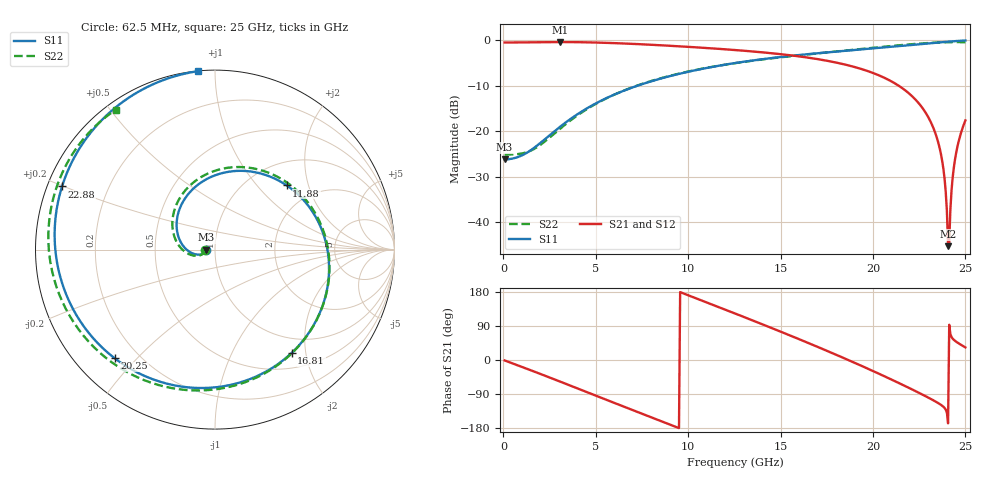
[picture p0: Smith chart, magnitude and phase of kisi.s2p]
! BV_vna_rf_hblb1_q050f25s_e35: /Attenuator Amp Switches/RF_HBLB_PORT1 via F.Cu→In2.Cu at (144.901, 131.654)
! stackup: VNA from the board file and its kisi.json
! ports: 1 in, 2 out
! kisi-fdtd, conformal, dfine 0.05 mm, 707850 cells
# Hz S RI R 50
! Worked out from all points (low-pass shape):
!   400 points, 62.5 MHz to 25 GHz, reference 50 ohm
!   highest |S21| = -0.37 dB at 3.062 GHz (marker M1); lowest = -45.2 dB at 24.06 GHz (marker M2)
!   |S21| within 3 dB of the highest: start of sweep to 15.72 GHz
!   lowest |S11| = -26.2 dB at 62.5 MHz (marker M3), VSWR 1.10, Z = 45.3 - j0.064 ohm
!   |S11| at or under -10 dB: start of sweep to 7.219 GHz
!   |S22| runs from -25.1 to -0.4 dB; largest |S21 - S12| = 3.7e-05
!   S11 on the Smith chart (normalised r, x): 62.5 MHz: 0.91, -0.00; 11.88 GHz: 1.46, +1.46; 16.81 GHz: 0.74, -1.75; 20.25 GHz: 0.11, -0.43; 22.88 GHz: 0.04, +0.20; 25 GHz: 0.00, +0.91
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6.25e7  -0.0492 -0.000704  0.9474 -0.0188  0.9473 -0.0188  -0.0557 -0.00043
3.0625e9  -0.1094 -0.0261  0.5236 -0.8031  0.5236 -0.8031  -0.1012 -0.0347
4.25e9  -0.166 0.00748  0.1713 -0.9389  0.1713 -0.9389  -0.1616 -0.016
6.125e9  -0.2137 0.1487  -0.403 -0.8398  -0.403 -0.8398  -0.2354 0.1113
8.375e9  -0.0942 0.3622  -0.8252 -0.3261  -0.8252 -0.3261  -0.1518 0.3451
1.00625e10  0.1228 0.4385  -0.8342 0.1523  -0.8343 0.1523  0.06 0.4541
1.1875e10  0.3994 0.3577  -0.5698 0.564  -0.5698 0.564  0.3561 0.4013
1.25625e10  0.4923 0.277  -0.4168 0.6627  -0.4168 0.6627  0.4603 0.3257
1.45e10  0.6348 -0.0764  0.067 0.7202  0.067 0.7202  0.6343 -0.0291
1.66875e10  0.451 -0.552  0.4807 0.4187  0.4807 0.4187  0.4792 -0.5232
1.68125e10  0.4275 -0.5753  0.4943 0.3933  0.4943 0.3933  0.4573 -0.548
1.8625e10  -0.0467 -0.7707  0.5342 0.00702  0.5342 0.00701  0.00989 -0.7777
2.025e10  -0.5581 -0.606  0.3446 -0.238  0.3446 -0.238  -0.4875 -0.6834
2.0875e10  -0.7212 -0.441  0.2413 -0.2748  0.2413 -0.2748  -0.6583 -0.5591
2.2875e10  -0.8521 0.3521  -0.017 -0.1565  -0.017 -0.1565  -0.9282 0.0893
2.375e10  -0.6478 0.7038  -0.024 -0.04  -0.024 -0.04  -0.8572 0.4133
2.39375e10  -0.5824 0.7678  -0.0141 -0.0162  -0.0141 -0.0162  -0.8256 0.4784
2.40625e10  -0.5349 0.8071  -0.00535 -0.00123  -0.00535 -0.00123  -0.8015 0.5203
2.4125e10  -0.51 0.8258  -0.000306 0.00596  -0.000306 0.00596  -0.7886 0.5408
2.425e10  -0.4581 0.8607  0.0111 0.0196  0.0111 0.0196  -0.7609 0.5806
2.4375e10  -0.4035 0.8924  0.0241 0.0321  0.0241 0.0321  -0.7309 0.6188
2.5e10  -0.0974 0.9937  0.1105 0.0724  0.1105 0.0724  -0.5508 0.7805
